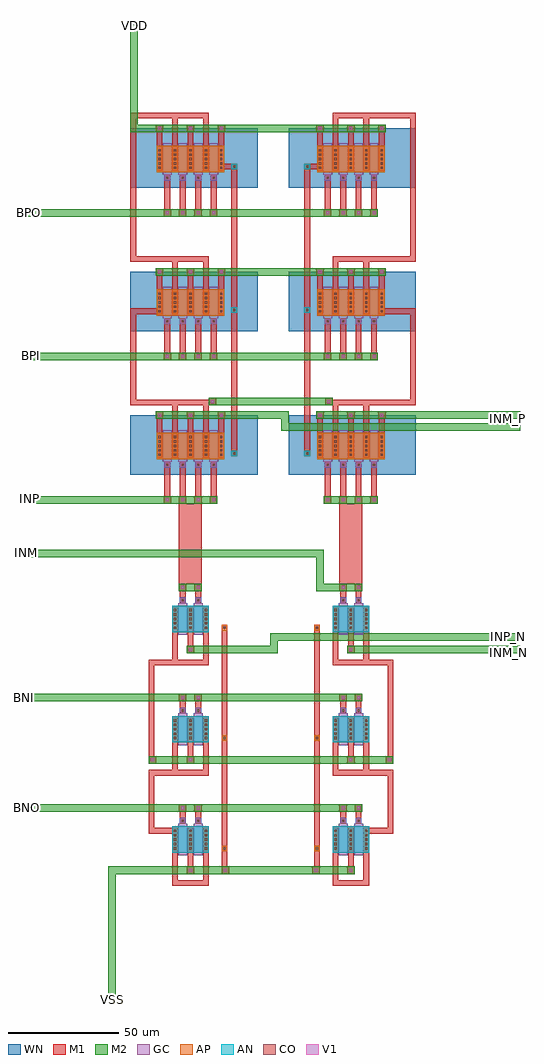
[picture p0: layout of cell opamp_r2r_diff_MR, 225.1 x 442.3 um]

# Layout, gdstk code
from math import pi, radians
import gdstk
lib = gdstk.Library(unit=1e-6, precision=1e-07)
def R(c, l, rs):  # rectangles x0, y0, x1, y1
    for r in rs: c.add(gdstk.rectangle(r[:2], r[2:], *l))
def A(c, l, x, y, w, h, nx, ny, dx, dy):  # array of equal rectangles
    R(c, l, [(x+i*dx, y+j*dy, x+i*dx+w, y+j*dy+h) for i in range(nx) for j in range(ny)])
AP = (3, 1)
AN = (3, 2)
GC = (8, 1)
CO = (11, 0)
M1 = (13, 0)
V1 = (19, 0)
M2 = (20, 0)
WN = (140, 0)

via_1 = lib.new_cell('via_1')
R(via_1, M1, [(-1.7,-1.7,1.7,1.7)])
R(via_1, V1, [(-0.7,-0.7,0.7,0.7)])
R(via_1, M2, [(-1.7,-1.7,1.7,1.7)])

fet_p = lib.new_cell('fet_p')
R(fet_p, AP, [(-15.3,-6,15.3,6)])
A(fet_p, CO, -14.5, -4.5, 1, 1, 5, 5, 7, 2)
A(fet_p, M1, -15.3, -5.3, 2.6, 10.6, 5, 1, 7, 0)
fet_p.add(gdstk.FlexPath([(3.5,-7.2),(3.5,7.2)], 4, ends="flush", simple_path=True, layer=8, datatype=1))  # GC
fet_p.add(gdstk.FlexPath([(-3.5,-7.2),(-3.5,7.2)], 4, ends="flush", simple_path=True, layer=8, datatype=1))  # GC
fet_p.add(gdstk.FlexPath([(10.5,-7.2),(10.5,7.2)], 4, ends="flush", simple_path=True, layer=8, datatype=1))  # GC
fet_p.add(gdstk.FlexPath([(-10.5,-7.2),(-10.5,7.2)], 4, ends="flush", simple_path=True, layer=8, datatype=1))  # GC

cont_n = lib.new_cell('cont_n')
R(cont_n, AN, [(-1.3,-1.3,1.3,1.3)])
R(cont_n, CO, [(-0.5,-0.5,0.5,0.5)])
R(cont_n, M1, [(-1.3,-1.3,1.3,1.3)])

cont_g = lib.new_cell('cont_g')
R(cont_g, GC, [(-1.3,-1.3,1.3,1.3)])
R(cont_g, CO, [(-0.5,-0.5,0.5,0.5)])
R(cont_g, M1, [(-1.3,-1.3,1.3,1.3)])

cont_p = lib.new_cell('cont_p')
R(cont_p, AP, [(-1.3,-1.3,1.3,1.3)])
R(cont_p, CO, [(-0.5,-0.5,0.5,0.5)])
R(cont_p, M1, [(-1.3,-1.3,1.3,1.3)])

fet_n = lib.new_cell('fet_n')
R(fet_n, AN, [(-8.3,-6,8.3,6)])
A(fet_n, CO, -7.5, -4.5, 1, 1, 3, 5, 7, 2)
A(fet_n, M1, -8.3, -5.3, 2.6, 10.6, 3, 1, 7, 0)
fet_n.add(gdstk.FlexPath([(3.5,-7.2),(3.5,7.2)], 4, ends="flush", simple_path=True, layer=8, datatype=1))  # GC
fet_n.add(gdstk.FlexPath([(-3.5,-7.2),(-3.5,7.2)], 4, ends="flush", simple_path=True, layer=8, datatype=1))  # GC

opamp_r2r_diff_mr = lib.new_cell('opamp_r2r_diff_MR')
A(opamp_r2r_diff_mr, WN, -26.7, -117, 57.7, 27, 1, 3, 0, 65)
A(opamp_r2r_diff_mr, WN, 45, -117, 57.7, 27, 1, 3, 0, 65)
opamp_r2r_diff_mr.add(gdstk.FlexPath([(64.9,45.8),(101.4,45.8),(101.4,-19.2),(64.9,-19.2)], 2.6, ends="flush", simple_path=True, layer=13, datatype=0))  # M1
opamp_r2r_diff_mr.add(gdstk.FlexPath([(53.4,21.4),(53.4,-41)], 2.6, ends="flush", simple_path=True, layer=13, datatype=0))  # M1
opamp_r2r_diff_mr.add(gdstk.FlexPath([(83.7,16.3),(83.7,3.4)], 2.6, ends="flush", simple_path=True, layer=13, datatype=0))  # M1
opamp_r2r_diff_mr.add(gdstk.FlexPath([(76.7,16.3),(76.7,3.4)], 2.6, ends="flush", simple_path=True, layer=13, datatype=0))  # M1
opamp_r2r_diff_mr.add(gdstk.FlexPath([(69.7,16.3),(69.7,3.4)], 2.6, ends="flush", simple_path=True, layer=13, datatype=0))  # M1
opamp_r2r_diff_mr.add(gdstk.FlexPath([(62.7,16.3),(62.7,3.4)], 2.6, ends="flush", simple_path=True, layer=13, datatype=0))  # M1
opamp_r2r_diff_mr.add(gdstk.FlexPath([(57.9,22.7),(52.1,22.7)], 2.6, ends="flush", simple_path=True, layer=13, datatype=0))  # M1
opamp_r2r_diff_mr.add(gdstk.FlexPath([(59.2,31.4),(59.2,38.3)], 2.6, ends="flush", simple_path=True, layer=13, datatype=0))  # M1
opamp_r2r_diff_mr.add(gdstk.FlexPath([(73.2,31.4),(73.2,38.3)], 2.6, ends="flush", simple_path=True, layer=13, datatype=0))  # M1
opamp_r2r_diff_mr.add(gdstk.FlexPath([(87.2,31.4),(87.2,38.3)], 2.6, ends="flush", simple_path=True, layer=13, datatype=0))  # M1
opamp_r2r_diff_mr.add(gdstk.FlexPath([(66.2,31.4),(66.2,45.8)], 2.6, ends="flush", simple_path=True, layer=13, datatype=0))  # M1
opamp_r2r_diff_mr.add(gdstk.FlexPath([(80.2,31.4),(80.2,45.8)], 2.6, ends="flush", simple_path=True, layer=13, datatype=0))  # M1
opamp_r2r_diff_mr.add(gdstk.FlexPath([(83.7,-48.7),(83.7,-61.6)], 2.6, ends="flush", simple_path=True, layer=13, datatype=0))  # M1
opamp_r2r_diff_mr.add(gdstk.FlexPath([(83.7,-113.7),(83.7,-126.6)], 2.6, ends="flush", simple_path=True, layer=13, datatype=0))  # M1
opamp_r2r_diff_mr.add(gdstk.FlexPath([(76.7,-48.7),(76.7,-61.6)], 2.6, ends="flush", simple_path=True, layer=13, datatype=0))  # M1
opamp_r2r_diff_mr.add(gdstk.FlexPath([(76.7,-113.7),(76.7,-126.6)], 2.6, ends="flush", simple_path=True, layer=13, datatype=0))  # M1
opamp_r2r_diff_mr.add(gdstk.FlexPath([(69.7,-48.7),(69.7,-61.6)], 2.6, ends="flush", simple_path=True, layer=13, datatype=0))  # M1
opamp_r2r_diff_mr.add(gdstk.FlexPath([(69.7,-113.7),(69.7,-126.6)], 2.6, ends="flush", simple_path=True, layer=13, datatype=0))  # M1
opamp_r2r_diff_mr.add(gdstk.FlexPath([(62.7,-48.7),(62.7,-61.6)], 2.6, ends="flush", simple_path=True, layer=13, datatype=0))  # M1
opamp_r2r_diff_mr.add(gdstk.FlexPath([(62.7,-113.7),(62.7,-126.6)], 2.6, ends="flush", simple_path=True, layer=13, datatype=0))  # M1
opamp_r2r_diff_mr.add(gdstk.FlexPath([(59.2,-33.6),(59.2,-26.7)], 2.6, ends="flush", simple_path=True, layer=13, datatype=0))  # M1
opamp_r2r_diff_mr.add(gdstk.FlexPath([(59.2,-98.6),(59.2,-91.7)], 2.6, ends="flush", simple_path=True, layer=13, datatype=0))  # M1
opamp_r2r_diff_mr.add(gdstk.FlexPath([(73.2,-33.6),(73.2,-26.7)], 2.6, ends="flush", simple_path=True, layer=13, datatype=0))  # M1
opamp_r2r_diff_mr.add(gdstk.FlexPath([(73.2,-98.6),(73.2,-91.7)], 2.6, ends="flush", simple_path=True, layer=13, datatype=0))  # M1
opamp_r2r_diff_mr.add(gdstk.FlexPath([(87.2,-33.6),(87.2,-26.7)], 2.6, ends="flush", simple_path=True, layer=13, datatype=0))  # M1
opamp_r2r_diff_mr.add(gdstk.FlexPath([(87.2,-98.6),(87.2,-91.7)], 2.6, ends="flush", simple_path=True, layer=13, datatype=0))  # M1
opamp_r2r_diff_mr.add(gdstk.FlexPath([(66.2,-33.6),(66.2,-19.2)], 2.6, ends="flush", simple_path=True, layer=13, datatype=0))  # M1
opamp_r2r_diff_mr.add(gdstk.FlexPath([(66.2,-98.6),(66.2,-84.2)], 2.6, ends="flush", simple_path=True, layer=13, datatype=0))  # M1
opamp_r2r_diff_mr.add(gdstk.FlexPath([(80.2,-33.6),(80.2,-19.2)], 2.6, ends="flush", simple_path=True, layer=13, datatype=0))  # M1
opamp_r2r_diff_mr.add(gdstk.FlexPath([(80.2,-98.6),(80.2,-84.2)], 2.6, ends="flush", simple_path=True, layer=13, datatype=0))  # M1
opamp_r2r_diff_mr.add(gdstk.FlexPath([(64.9,-84.2),(81.5,-84.2)], 2.6, ends="flush", simple_path=True, layer=13, datatype=0))  # M1
opamp_r2r_diff_mr.add(gdstk.FlexPath([(53.4,-43.6),(53.4,-106)], 2.6, ends="flush", simple_path=True, layer=13, datatype=0))  # M1
opamp_r2r_diff_mr.add(gdstk.FlexPath([(88.5,-42.9),(101.4,-42.9),(101.4,-84.2),(81.5,-84.2)], 2.6, ends="flush", simple_path=True, layer=13, datatype=0))  # M1
opamp_r2r_diff_mr.add(gdstk.FlexPath([(11,-113.7),(11,-126.6)], 2.6, ends="flush", simple_path=True, layer=13, datatype=0))  # M1
opamp_r2r_diff_mr.add(gdstk.FlexPath([(4,-48.7),(4,-61.6)], 2.6, ends="flush", simple_path=True, layer=13, datatype=0))  # M1
opamp_r2r_diff_mr.add(gdstk.FlexPath([(4,-113.7),(4,-126.6)], 2.6, ends="flush", simple_path=True, layer=13, datatype=0))  # M1
opamp_r2r_diff_mr.add(gdstk.FlexPath([(-3,-48.7),(-3,-61.6)], 2.6, ends="flush", simple_path=True, layer=13, datatype=0))  # M1
opamp_r2r_diff_mr.add(gdstk.FlexPath([(-3,-113.7),(-3,-126.6)], 2.6, ends="flush", simple_path=True, layer=13, datatype=0))  # M1
opamp_r2r_diff_mr.add(gdstk.FlexPath([(-10,-48.7),(-10,-61.6)], 2.6, ends="flush", simple_path=True, layer=13, datatype=0))  # M1
opamp_r2r_diff_mr.add(gdstk.FlexPath([(-10,-113.7),(-10,-126.6)], 2.6, ends="flush", simple_path=True, layer=13, datatype=0))  # M1
opamp_r2r_diff_mr.add(gdstk.FlexPath([(0.5,31.4),(0.5,38.3)], 2.6, ends="flush", simple_path=True, layer=13, datatype=0))  # M1
opamp_r2r_diff_mr.add(gdstk.FlexPath([(14.5,31.4),(14.5,38.3)], 2.6, ends="flush", simple_path=True, layer=13, datatype=0))  # M1
opamp_r2r_diff_mr.add(gdstk.FlexPath([(-6.5,31.4),(-6.5,45.8)], 2.6, ends="flush", simple_path=True, layer=13, datatype=0))  # M1
opamp_r2r_diff_mr.add(gdstk.FlexPath([(7.5,31.4),(7.5,45.8)], 2.6, ends="flush", simple_path=True, layer=13, datatype=0))  # M1
opamp_r2r_diff_mr.add(gdstk.FlexPath([(20.3,-43.6),(20.3,-106)], 2.6, ends="flush", simple_path=True, layer=13, datatype=0))  # M1
opamp_r2r_diff_mr.add(gdstk.FlexPath([(21.6,22.7),(15.8,22.7)], 2.6, ends="flush", simple_path=True, layer=13, datatype=0))  # M1
opamp_r2r_diff_mr.add(gdstk.FlexPath([(20.3,21.4),(20.3,-41)], 2.6, ends="flush", simple_path=True, layer=13, datatype=0))  # M1
opamp_r2r_diff_mr.add(gdstk.FlexPath([(11,16.3),(11,3.4)], 2.6, ends="flush", simple_path=True, layer=13, datatype=0))  # M1
opamp_r2r_diff_mr.add(gdstk.FlexPath([(4,16.3),(4,3.4)], 2.6, ends="flush", simple_path=True, layer=13, datatype=0))  # M1
opamp_r2r_diff_mr.add(gdstk.FlexPath([(-3,16.3),(-3,3.4)], 2.6, ends="flush", simple_path=True, layer=13, datatype=0))  # M1
opamp_r2r_diff_mr.add(gdstk.FlexPath([(-10,16.3),(-10,3.4)], 2.6, ends="flush", simple_path=True, layer=13, datatype=0))  # M1
opamp_r2r_diff_mr.add(gdstk.FlexPath([(-13.5,-33.6),(-13.5,-26.7)], 2.6, ends="flush", simple_path=True, layer=13, datatype=0))  # M1
opamp_r2r_diff_mr.add(gdstk.FlexPath([(-13.5,-98.6),(-13.5,-91.7)], 2.6, ends="flush", simple_path=True, layer=13, datatype=0))  # M1
opamp_r2r_diff_mr.add(gdstk.FlexPath([(0.5,-33.6),(0.5,-26.7)], 2.6, ends="flush", simple_path=True, layer=13, datatype=0))  # M1
opamp_r2r_diff_mr.add(gdstk.FlexPath([(0.5,-98.6),(0.5,-91.7)], 2.6, ends="flush", simple_path=True, layer=13, datatype=0))  # M1
opamp_r2r_diff_mr.add(gdstk.FlexPath([(14.5,-33.6),(14.5,-26.7)], 2.6, ends="flush", simple_path=True, layer=13, datatype=0))  # M1
opamp_r2r_diff_mr.add(gdstk.FlexPath([(14.5,-98.6),(14.5,-91.7)], 2.6, ends="flush", simple_path=True, layer=13, datatype=0))  # M1
opamp_r2r_diff_mr.add(gdstk.FlexPath([(-6.5,-33.6),(-6.5,-19.2)], 2.6, ends="flush", simple_path=True, layer=13, datatype=0))  # M1
opamp_r2r_diff_mr.add(gdstk.FlexPath([(-6.5,-98.6),(-6.5,-84.2)], 2.6, ends="flush", simple_path=True, layer=13, datatype=0))  # M1
opamp_r2r_diff_mr.add(gdstk.FlexPath([(7.5,-33.6),(7.5,-19.2)], 2.6, ends="flush", simple_path=True, layer=13, datatype=0))  # M1
opamp_r2r_diff_mr.add(gdstk.FlexPath([(7.5,-98.6),(7.5,-84.2)], 2.6, ends="flush", simple_path=True, layer=13, datatype=0))  # M1
opamp_r2r_diff_mr.add(gdstk.FlexPath([(-7.8,-84.2),(8.8,-84.2)], 2.6, ends="flush", simple_path=True, layer=13, datatype=0))  # M1
opamp_r2r_diff_mr.add(gdstk.FlexPath([(-13.5,31.4),(-13.5,38.3)], 2.6, ends="flush", simple_path=True, layer=13, datatype=0))  # M1
opamp_r2r_diff_mr.add(gdstk.FlexPath([(-14.8,-42.9),(-25.4,-42.9),(-25.4,-84.2),(-7.8,-84.2)], 2.6, ends="flush", simple_path=True, layer=13, datatype=0))  # M1
opamp_r2r_diff_mr.add(gdstk.FlexPath([(11,-48.7),(11,-61.6)], 2.6, ends="flush", simple_path=True, layer=13, datatype=0))  # M1
opamp_r2r_diff_mr.add(gdstk.FlexPath([(8.8,45.8),(-25.4,45.8),(-25.4,-19.2),(8.8,-19.2)], 2.6, ends="flush", simple_path=True, layer=13, datatype=0))  # M1
opamp_r2r_diff_mr.add(gdstk.FlexPath([(4,-169.7),(4,-172.5)], 2.6, ends="flush", simple_path=True, layer=13, datatype=0))  # M1
opamp_r2r_diff_mr.add(gdstk.FlexPath([(0.5,-194.5),(0.5,-187.6)], 2.6, ends="flush", simple_path=True, layer=13, datatype=0))  # M1
opamp_r2r_diff_mr.add(gdstk.FlexPath([(-6.5,-202),(-6.5,-187.6)], 2.6, ends="flush", simple_path=True, layer=13, datatype=0))  # M1
opamp_r2r_diff_mr.add(gdstk.FlexPath([(7.5,-202),(7.5,-187.6)], 2.6, ends="flush", simple_path=True, layer=13, datatype=0))  # M1
opamp_r2r_diff_mr.add(gdstk.FlexPath([(-3,-219.7),(-3,-222.5)], 2.6, ends="flush", simple_path=True, layer=13, datatype=0))  # M1
opamp_r2r_diff_mr.add(gdstk.FlexPath([(-3,-269.7),(-3,-272.5)], 2.6, ends="flush", simple_path=True, layer=13, datatype=0))  # M1
opamp_r2r_diff_mr.add(gdstk.FlexPath([(4,-219.7),(4,-222.5)], 2.6, ends="flush", simple_path=True, layer=13, datatype=0))  # M1
opamp_r2r_diff_mr.add(gdstk.FlexPath([(4,-269.7),(4,-272.5)], 2.6, ends="flush", simple_path=True, layer=13, datatype=0))  # M1
opamp_r2r_diff_mr.add(gdstk.FlexPath([(0.5,-244.5),(0.5,-237.6)], 2.6, ends="flush", simple_path=True, layer=13, datatype=0))  # M1
opamp_r2r_diff_mr.add(gdstk.FlexPath([(0.5,-294.5),(0.5,-287.6)], 2.6, ends="flush", simple_path=True, layer=13, datatype=0))  # M1
opamp_r2r_diff_mr.add(gdstk.FlexPath([(-6.5,-252),(-6.5,-237.6)], 2.6, ends="flush", simple_path=True, layer=13, datatype=0))  # M1
opamp_r2r_diff_mr.add(gdstk.FlexPath([(-6.5,-302),(-6.5,-287.6)], 2.6, ends="flush", simple_path=True, layer=13, datatype=0))  # M1
opamp_r2r_diff_mr.add(gdstk.FlexPath([(7.5,-252),(7.5,-237.6)], 2.6, ends="flush", simple_path=True, layer=13, datatype=0))  # M1
opamp_r2r_diff_mr.add(gdstk.FlexPath([(7.5,-302),(7.5,-287.6)], 2.6, ends="flush", simple_path=True, layer=13, datatype=0))  # M1
opamp_r2r_diff_mr.add(gdstk.FlexPath([(15.9,-187.6),(15.9,-235)], 2.6, ends="flush", simple_path=True, layer=13, datatype=0))  # M1
opamp_r2r_diff_mr.add(gdstk.FlexPath([(15.9,-237.6),(15.9,-285)], 2.6, ends="flush", simple_path=True, layer=13, datatype=0))  # M1
opamp_r2r_diff_mr.add(gdstk.FlexPath([(15.9,-287.6),(15.9,-294.5)], 2.6, ends="flush", simple_path=True, layer=13, datatype=0))  # M1
opamp_r2r_diff_mr.add(gdstk.FlexPath([(8.8,-202),(-17.1,-202),(-17.1,-244.5)], 2.6, ends="flush", simple_path=True, layer=13, datatype=0))  # M1
opamp_r2r_diff_mr.add(gdstk.FlexPath([(8.8,-252),(-17.1,-252),(-17.1,-278.3),(-7.8,-278.3)], 2.6, ends="flush", simple_path=True, layer=13, datatype=0))  # M1
opamp_r2r_diff_mr.add(gdstk.FlexPath([(-7.8,-302),(8.8,-302)], 2.6, ends="flush", simple_path=True, layer=13, datatype=0))  # M1
opamp_r2r_diff_mr.add(gdstk.FlexPath([(0.5,-130),(0.5,-166.3)], 10.4, ends="flush", simple_path=True, layer=13, datatype=0))  # M1
opamp_r2r_diff_mr.add(gdstk.FlexPath([(-3,-169.7),(-3,-172.5)], 2.6, ends="flush", simple_path=True, layer=13, datatype=0))  # M1
opamp_r2r_diff_mr.add(gdstk.FlexPath([(76.7,-269.7),(76.7,-272.5)], 2.6, ends="flush", simple_path=True, layer=13, datatype=0))  # M1
opamp_r2r_diff_mr.add(gdstk.FlexPath([(73.2,-244.5),(73.2,-237.6)], 2.6, ends="flush", simple_path=True, layer=13, datatype=0))  # M1
opamp_r2r_diff_mr.add(gdstk.FlexPath([(73.2,-294.5),(73.2,-287.6)], 2.6, ends="flush", simple_path=True, layer=13, datatype=0))  # M1
opamp_r2r_diff_mr.add(gdstk.FlexPath([(66.2,-252),(66.2,-237.6)], 2.6, ends="flush", simple_path=True, layer=13, datatype=0))  # M1
opamp_r2r_diff_mr.add(gdstk.FlexPath([(66.2,-302),(66.2,-287.6)], 2.6, ends="flush", simple_path=True, layer=13, datatype=0))  # M1
opamp_r2r_diff_mr.add(gdstk.FlexPath([(80.2,-252),(80.2,-237.6)], 2.6, ends="flush", simple_path=True, layer=13, datatype=0))  # M1
opamp_r2r_diff_mr.add(gdstk.FlexPath([(80.2,-302),(80.2,-287.6)], 2.6, ends="flush", simple_path=True, layer=13, datatype=0))  # M1
opamp_r2r_diff_mr.add(gdstk.FlexPath([(69.7,-169.7),(69.7,-172.5)], 2.6, ends="flush", simple_path=True, layer=13, datatype=0))  # M1
opamp_r2r_diff_mr.add(gdstk.FlexPath([(76.7,-169.7),(76.7,-172.5)], 2.6, ends="flush", simple_path=True, layer=13, datatype=0))  # M1
opamp_r2r_diff_mr.add(gdstk.FlexPath([(73.2,-194.5),(73.2,-187.6)], 2.6, ends="flush", simple_path=True, layer=13, datatype=0))  # M1
opamp_r2r_diff_mr.add(gdstk.FlexPath([(57.8,-187.6),(57.8,-235)], 2.6, ends="flush", simple_path=True, layer=13, datatype=0))  # M1
opamp_r2r_diff_mr.add(gdstk.FlexPath([(57.8,-237.6),(57.8,-285)], 2.6, ends="flush", simple_path=True, layer=13, datatype=0))  # M1
opamp_r2r_diff_mr.add(gdstk.FlexPath([(57.8,-287.6),(57.8,-294.5)], 2.6, ends="flush", simple_path=True, layer=13, datatype=0))  # M1
opamp_r2r_diff_mr.add(gdstk.FlexPath([(66.2,-202),(66.2,-187.6)], 2.6, ends="flush", simple_path=True, layer=13, datatype=0))  # M1
opamp_r2r_diff_mr.add(gdstk.FlexPath([(80.2,-202),(80.2,-187.6)], 2.6, ends="flush", simple_path=True, layer=13, datatype=0))  # M1
opamp_r2r_diff_mr.add(gdstk.FlexPath([(69.7,-219.7),(69.7,-222.5)], 2.6, ends="flush", simple_path=True, layer=13, datatype=0))  # M1
opamp_r2r_diff_mr.add(gdstk.FlexPath([(64.9,-202),(91.1,-202),(91.1,-244.5)], 2.6, ends="flush", simple_path=True, layer=13, datatype=0))  # M1
opamp_r2r_diff_mr.add(gdstk.FlexPath([(64.9,-252),(91.1,-252),(91.1,-278.3),(81.5,-278.3)], 2.6, ends="flush", simple_path=True, layer=13, datatype=0))  # M1
opamp_r2r_diff_mr.add(gdstk.FlexPath([(64.9,-302),(81.5,-302)], 2.6, ends="flush", simple_path=True, layer=13, datatype=0))  # M1
opamp_r2r_diff_mr.add(gdstk.FlexPath([(69.7,-269.7),(69.7,-272.5)], 2.6, ends="flush", simple_path=True, layer=13, datatype=0))  # M1
opamp_r2r_diff_mr.add(gdstk.FlexPath([(73.2,-130),(73.2,-166.3)], 10.4, ends="flush", simple_path=True, layer=13, datatype=0))  # M1
opamp_r2r_diff_mr.add(gdstk.FlexPath([(76.7,-219.7),(76.7,-222.5)], 2.6, ends="flush", simple_path=True, layer=13, datatype=0))  # M1
opamp_r2r_diff_mr.add(gdstk.FlexPath([(-15.2,40),(-25,40),(-25,87.3)], 3.4, ends="flush", simple_path=True, layer=20, datatype=0))  # M2
opamp_r2r_diff_mr.add(gdstk.FlexPath([(16.2,-90),(43.4,-90),(43.4,-95.4),(150,-95.4)], 3.4, ends="flush", simple_path=True, layer=20, datatype=0))  # M2
opamp_r2r_diff_mr.add(gdstk.FlexPath([(88.9,-90),(150,-90)], 3.4, ends="flush", simple_path=True, layer=20, datatype=0))  # M2
opamp_r2r_diff_mr.add(gdstk.FlexPath([(-4.7,-168),(5.7,-168)], 3.4, ends="flush", simple_path=True, layer=20, datatype=0))  # M2
opamp_r2r_diff_mr.add(gdstk.FlexPath([(68,-168),(78.4,-168)], 3.4, ends="flush", simple_path=True, layer=20, datatype=0))  # M2
opamp_r2r_diff_mr.add(gdstk.FlexPath([(-4.7,-218),(5.7,-218)], 3.4, ends="flush", simple_path=True, layer=20, datatype=0))  # M2
opamp_r2r_diff_mr.add(gdstk.FlexPath([(-4.7,-268),(5.7,-268)], 3.4, ends="flush", simple_path=True, layer=20, datatype=0))  # M2
opamp_r2r_diff_mr.add(gdstk.FlexPath([(68,-218),(78.4,-218)], 3.4, ends="flush", simple_path=True, layer=20, datatype=0))  # M2
opamp_r2r_diff_mr.add(gdstk.FlexPath([(68,-268),(78.4,-268)], 3.4, ends="flush", simple_path=True, layer=20, datatype=0))  # M2
opamp_r2r_diff_mr.add(gdstk.FlexPath([(68,-168),(59.2,-168),(59.2,-152.7),(-74.8,-152.7)], 3.4, ends="flush", simple_path=True, layer=20, datatype=0))  # M2
opamp_r2r_diff_mr.add(gdstk.FlexPath([(2.2,-196.2),(38.3,-196.2),(38.3,-190.6),(150,-190.6)], 3.4, ends="flush", simple_path=True, layer=20, datatype=0))  # M2
opamp_r2r_diff_mr.add(gdstk.FlexPath([(74.9,-196.2),(150,-196.2)], 3.4, ends="flush", simple_path=True, layer=20, datatype=0))  # M2
opamp_r2r_diff_mr.add(gdstk.FlexPath([(68,-218),(-75.1,-218)], 3.4, ends="flush", simple_path=True, layer=20, datatype=0))  # M2
opamp_r2r_diff_mr.add(gdstk.FlexPath([(92.4,-246.2),(-18.4,-246.2)], 3.4, ends="flush", simple_path=True, layer=20, datatype=0))  # M2
opamp_r2r_diff_mr.add(gdstk.FlexPath([(68,-268),(-75.1,-268)], 3.4, ends="flush", simple_path=True, layer=20, datatype=0))  # M2
opamp_r2r_diff_mr.add(gdstk.FlexPath([(71.5,-296.2),(2.2,-296.2),(2.2,-296.2)], 3.4, ends="flush", simple_path=True, layer=20, datatype=0))  # M2
opamp_r2r_diff_mr.add(gdstk.FlexPath([(-1.2,-296.2),(-35,-296.2),(-35,-355)], 3.4, ends="flush", simple_path=True, layer=20, datatype=0))  # M2
opamp_r2r_diff_mr.add(gdstk.FlexPath([(12.7,-128.3),(-75.1,-128.3)], 3.4, ends="flush", simple_path=True, layer=20, datatype=0))  # M2
opamp_r2r_diff_mr.add(gdstk.FlexPath([(16.2,40),(57.5,40)], 3.4, ends="flush", simple_path=True, layer=20, datatype=0))  # M2
opamp_r2r_diff_mr.add(gdstk.FlexPath([(57.5,40),(88.9,40)], 3.4, ends="flush", simple_path=True, layer=20, datatype=0))  # M2
opamp_r2r_diff_mr.add(gdstk.FlexPath([(-15.2,40),(16.2,40)], 3.4, ends="flush", simple_path=True, layer=20, datatype=0))  # M2
opamp_r2r_diff_mr.add(gdstk.FlexPath([(16.2,-25),(57.5,-25)], 3.4, ends="flush", simple_path=True, layer=20, datatype=0))  # M2
opamp_r2r_diff_mr.add(gdstk.FlexPath([(57.5,-25),(88.9,-25)], 3.4, ends="flush", simple_path=True, layer=20, datatype=0))  # M2
opamp_r2r_diff_mr.add(gdstk.FlexPath([(57.5,-90),(88.9,-90)], 3.4, ends="flush", simple_path=True, layer=20, datatype=0))  # M2
opamp_r2r_diff_mr.add(gdstk.FlexPath([(-15.2,-25),(16.2,-25)], 3.4, ends="flush", simple_path=True, layer=20, datatype=0))  # M2
opamp_r2r_diff_mr.add(gdstk.FlexPath([(-15.2,-90),(16.2,-90)], 3.4, ends="flush", simple_path=True, layer=20, datatype=0))  # M2
opamp_r2r_diff_mr.add(gdstk.FlexPath([(85.4,1.7),(-75.1,1.7)], 3.4, ends="flush", simple_path=True, layer=20, datatype=0))  # M2
opamp_r2r_diff_mr.add(gdstk.FlexPath([(85.4,-63.3),(-75.1,-63.3)], 3.4, ends="flush", simple_path=True, layer=20, datatype=0))  # M2
opamp_r2r_diff_mr.add(gdstk.FlexPath([(85.4,-128.3),(61,-128.3)], 3.4, ends="flush", simple_path=True, layer=20, datatype=0))  # M2
opamp_r2r_diff_mr.add(gdstk.FlexPath([(12.2,-83.8),(61.5,-83.8)], 3.4, ends="flush", simple_path=True, layer=20, datatype=0))  # M2
opamp_r2r_diff_mr.add(gdstk.Reference(via_1, (83.7,-128.3), rotation=pi))
opamp_r2r_diff_mr.add(gdstk.Reference(via_1, (76.7,-128.3), rotation=pi))
opamp_r2r_diff_mr.add(gdstk.Reference(via_1, (69.7,-128.3), rotation=pi))
opamp_r2r_diff_mr.add(gdstk.Reference(via_1, (62.7,-128.3), rotation=pi))
opamp_r2r_diff_mr.add(gdstk.Reference(via_1, (11,-128.3), rotation=pi))
opamp_r2r_diff_mr.add(gdstk.Reference(via_1, (4,-128.3), rotation=pi))
opamp_r2r_diff_mr.add(gdstk.Reference(via_1, (-3,-128.3), rotation=pi))
opamp_r2r_diff_mr.add(gdstk.Reference(via_1, (-10,-128.3), rotation=pi))
opamp_r2r_diff_mr.add(gdstk.Reference(fet_p, (73.2,26.1), rotation=pi))
opamp_r2r_diff_mr.add(gdstk.Reference(cont_n, (53.4,-42.3), rotation=pi))
opamp_r2r_diff_mr.add(gdstk.Reference(cont_n, (53.4,-107.3), rotation=pi))
opamp_r2r_diff_mr.add(gdstk.Reference(via_1, (87.2,-25), rotation=pi))
opamp_r2r_diff_mr.add(gdstk.Reference(via_1, (87.2,-90), rotation=pi))
opamp_r2r_diff_mr.add(gdstk.Reference(via_1, (73.2,-25), rotation=pi))
opamp_r2r_diff_mr.add(gdstk.Reference(via_1, (73.2,-90), rotation=pi))
opamp_r2r_diff_mr.add(gdstk.Reference(via_1, (59.2,-25), rotation=pi))
opamp_r2r_diff_mr.add(gdstk.Reference(via_1, (59.2,-90), rotation=pi))
opamp_r2r_diff_mr.add(gdstk.Reference(cont_g, (83.7,-47.4), rotation=pi))
opamp_r2r_diff_mr.add(gdstk.Reference(cont_g, (83.7,-112.4), rotation=pi))
opamp_r2r_diff_mr.add(gdstk.Reference(cont_g, (76.7,-47.4), rotation=pi))
opamp_r2r_diff_mr.add(gdstk.Reference(cont_g, (76.7,-112.4), rotation=pi))
opamp_r2r_diff_mr.add(gdstk.Reference(cont_g, (69.7,-47.4), rotation=pi))
opamp_r2r_diff_mr.add(gdstk.Reference(cont_g, (69.7,-112.4), rotation=pi))
opamp_r2r_diff_mr.add(gdstk.Reference(cont_g, (62.7,-47.4), rotation=pi))
opamp_r2r_diff_mr.add(gdstk.Reference(cont_g, (62.7,-112.4), rotation=pi))
opamp_r2r_diff_mr.add(gdstk.Reference(fet_p, (73.2,-38.9), rotation=pi))
opamp_r2r_diff_mr.add(gdstk.Reference(fet_p, (73.2,-103.9), rotation=pi))
opamp_r2r_diff_mr.add(gdstk.Reference(via_1, (83.7,1.7), rotation=pi))
opamp_r2r_diff_mr.add(gdstk.Reference(via_1, (76.7,1.7), rotation=pi))
opamp_r2r_diff_mr.add(gdstk.Reference(via_1, (69.7,1.7), rotation=pi))
opamp_r2r_diff_mr.add(gdstk.Reference(via_1, (62.7,1.7), rotation=pi))
opamp_r2r_diff_mr.add(gdstk.Reference(via_1, (83.7,-63.3), rotation=pi))
opamp_r2r_diff_mr.add(gdstk.Reference(cont_n, (53.4,22.7), rotation=pi))
opamp_r2r_diff_mr.add(gdstk.Reference(via_1, (76.7,-63.3), rotation=pi))
opamp_r2r_diff_mr.add(gdstk.Reference(via_1, (87.2,40), rotation=pi))
opamp_r2r_diff_mr.add(gdstk.Reference(via_1, (69.7,-63.3), rotation=pi))
opamp_r2r_diff_mr.add(gdstk.Reference(via_1, (73.2,40), rotation=pi))
opamp_r2r_diff_mr.add(gdstk.Reference(via_1, (62.7,-63.3), rotation=pi))
opamp_r2r_diff_mr.add(gdstk.Reference(via_1, (59.2,40), rotation=pi))
opamp_r2r_diff_mr.add(gdstk.Reference(cont_g, (83.7,17.6), rotation=pi))
opamp_r2r_diff_mr.add(gdstk.Reference(cont_g, (76.7,17.6), rotation=pi))
opamp_r2r_diff_mr.add(gdstk.Reference(cont_g, (69.7,17.6), rotation=pi))
opamp_r2r_diff_mr.add(gdstk.Reference(cont_g, (62.7,17.6), rotation=pi))
opamp_r2r_diff_mr.add(gdstk.Reference(via_1, (63.2,-83.8), rotation=pi))
opamp_r2r_diff_mr.add(gdstk.Reference(cont_g, (-10,17.6), rotation=pi))
opamp_r2r_diff_mr.add(gdstk.Reference(fet_p, (0.5,26.1), rotation=pi))
opamp_r2r_diff_mr.add(gdstk.Reference(cont_n, (20.3,22.7), rotation=pi))
opamp_r2r_diff_mr.add(gdstk.Reference(cont_n, (20.3,-42.3), rotation=pi))
opamp_r2r_diff_mr.add(gdstk.Reference(cont_n, (20.3,-107.3), rotation=pi))
opamp_r2r_diff_mr.add(gdstk.Reference(via_1, (14.5,-25), rotation=pi))
opamp_r2r_diff_mr.add(gdstk.Reference(via_1, (14.5,-90), rotation=pi))
opamp_r2r_diff_mr.add(gdstk.Reference(via_1, (0.5,-25), rotation=pi))
opamp_r2r_diff_mr.add(gdstk.Reference(via_1, (0.5,-90), rotation=pi))
opamp_r2r_diff_mr.add(gdstk.Reference(via_1, (-13.5,-25), rotation=pi))
opamp_r2r_diff_mr.add(gdstk.Reference(via_1, (-13.5,-90), rotation=pi))
opamp_r2r_diff_mr.add(gdstk.Reference(cont_g, (11,-47.4), rotation=pi))
opamp_r2r_diff_mr.add(gdstk.Reference(cont_g, (11,-112.4), rotation=pi))
opamp_r2r_diff_mr.add(gdstk.Reference(cont_g, (4,-47.4), rotation=pi))
opamp_r2r_diff_mr.add(gdstk.Reference(via_1, (11,1.7), rotation=pi))
opamp_r2r_diff_mr.add(gdstk.Reference(via_1, (4,1.7), rotation=pi))
opamp_r2r_diff_mr.add(gdstk.Reference(via_1, (-3,1.7), rotation=pi))
opamp_r2r_diff_mr.add(gdstk.Reference(via_1, (-10,1.7), rotation=pi))
opamp_r2r_diff_mr.add(gdstk.Reference(cont_g, (4,-112.4), rotation=pi))
opamp_r2r_diff_mr.add(gdstk.Reference(cont_g, (-3,-47.4), rotation=pi))
opamp_r2r_diff_mr.add(gdstk.Reference(cont_g, (-3,-112.4), rotation=pi))
opamp_r2r_diff_mr.add(gdstk.Reference(cont_g, (-10,-47.4), rotation=pi))
opamp_r2r_diff_mr.add(gdstk.Reference(cont_g, (-10,-112.4), rotation=pi))
opamp_r2r_diff_mr.add(gdstk.Reference(fet_p, (0.5,-38.9), rotation=pi))
opamp_r2r_diff_mr.add(gdstk.Reference(fet_p, (0.5,-103.9), rotation=pi))
opamp_r2r_diff_mr.add(gdstk.Reference(via_1, (14.5,40), rotation=pi))
opamp_r2r_diff_mr.add(gdstk.Reference(via_1, (11,-63.3), rotation=pi))
opamp_r2r_diff_mr.add(gdstk.Reference(via_1, (0.5,40), rotation=pi))
opamp_r2r_diff_mr.add(gdstk.Reference(via_1, (4,-63.3), rotation=pi))
opamp_r2r_diff_mr.add(gdstk.Reference(via_1, (-13.5,40), rotation=pi))
opamp_r2r_diff_mr.add(gdstk.Reference(via_1, (-3,-63.3), rotation=pi))
opamp_r2r_diff_mr.add(gdstk.Reference(cont_g, (11,17.6), rotation=pi))
opamp_r2r_diff_mr.add(gdstk.Reference(via_1, (-10,-63.3), rotation=pi))
opamp_r2r_diff_mr.add(gdstk.Reference(cont_g, (4,17.6), rotation=pi))
opamp_r2r_diff_mr.add(gdstk.Reference(via_1, (10.5,-83.8), rotation=pi))
opamp_r2r_diff_mr.add(gdstk.Reference(cont_g, (-3,17.6), rotation=pi))
opamp_r2r_diff_mr.add(gdstk.Reference(via_1, (-3,-268), rotation=pi))
opamp_r2r_diff_mr.add(gdstk.Reference(cont_g, (-3,-223.8), rotation=pi))
opamp_r2r_diff_mr.add(gdstk.Reference(cont_g, (-3,-273.8), rotation=pi))
opamp_r2r_diff_mr.add(gdstk.Reference(cont_g, (4,-223.8), rotation=pi))
opamp_r2r_diff_mr.add(gdstk.Reference(cont_g, (4,-273.8), rotation=pi))
opamp_r2r_diff_mr.add(gdstk.Reference(via_1, (4,-218), rotation=pi))
opamp_r2r_diff_mr.add(gdstk.Reference(via_1, (4,-268), rotation=pi))
opamp_r2r_diff_mr.add(gdstk.Reference(via_1, (0.5,-246.2), rotation=pi))
opamp_r2r_diff_mr.add(gdstk.Reference(via_1, (0.5,-296.2), rotation=pi))
opamp_r2r_diff_mr.add(gdstk.Reference(cont_p, (15.9,-236.3), rotation=pi))
opamp_r2r_diff_mr.add(gdstk.Reference(cont_p, (15.9,-286.3), rotation=pi))
opamp_r2r_diff_mr.add(gdstk.Reference(via_1, (16.3,-296.2), rotation=pi))
opamp_r2r_diff_mr.add(gdstk.Reference(via_1, (-16.7,-246.2), rotation=pi))
opamp_r2r_diff_mr.add(gdstk.Reference(via_1, (-3,-168), rotation=pi))
opamp_r2r_diff_mr.add(gdstk.Reference(cont_g, (-3,-173.8), rotation=pi))
opamp_r2r_diff_mr.add(gdstk.Reference(fet_n, (0.5,-182.3), rotation=pi))
opamp_r2r_diff_mr.add(gdstk.Reference(cont_g, (4,-173.8), rotation=pi))
opamp_r2r_diff_mr.add(gdstk.Reference(via_1, (4,-168), rotation=pi))
opamp_r2r_diff_mr.add(gdstk.Reference(via_1, (0.5,-196.2), rotation=pi))
opamp_r2r_diff_mr.add(gdstk.Reference(cont_p, (15.9,-186.3), rotation=pi))
opamp_r2r_diff_mr.add(gdstk.Reference(fet_n, (0.5,-232.3), rotation=pi))
opamp_r2r_diff_mr.add(gdstk.Reference(fet_n, (0.5,-282.3), rotation=pi))
opamp_r2r_diff_mr.add(gdstk.Reference(via_1, (-3,-218), rotation=pi))
opamp_r2r_diff_mr.add(gdstk.Reference(cont_g, (76.7,-273.8), rotation=pi))
opamp_r2r_diff_mr.add(gdstk.Reference(via_1, (76.7,-218), rotation=pi))
opamp_r2r_diff_mr.add(gdstk.Reference(via_1, (76.7,-268), rotation=pi))
opamp_r2r_diff_mr.add(gdstk.Reference(via_1, (73.2,-246.2), rotation=pi))
opamp_r2r_diff_mr.add(gdstk.Reference(via_1, (73.2,-296.2), rotation=pi))
opamp_r2r_diff_mr.add(gdstk.Reference(fet_n, (73.2,-182.3), rotation=pi))
opamp_r2r_diff_mr.add(gdstk.Reference(cont_p, (57.8,-186.3), rotation=pi))
opamp_r2r_diff_mr.add(gdstk.Reference(cont_p, (57.8,-236.3), rotation=pi))
opamp_r2r_diff_mr.add(gdstk.Reference(cont_p, (57.8,-286.3), rotation=pi))
opamp_r2r_diff_mr.add(gdstk.Reference(via_1, (57.4,-296.2), rotation=pi))
opamp_r2r_diff_mr.add(gdstk.Reference(via_1, (69.7,-168), rotation=pi))
opamp_r2r_diff_mr.add(gdstk.Reference(cont_g, (69.7,-173.8), rotation=pi))
opamp_r2r_diff_mr.add(gdstk.Reference(via_1, (90.7,-246.2), rotation=pi))
opamp_r2r_diff_mr.add(gdstk.Reference(cont_g, (76.7,-173.8), rotation=pi))
opamp_r2r_diff_mr.add(gdstk.Reference(via_1, (76.7,-168), rotation=pi))
opamp_r2r_diff_mr.add(gdstk.Reference(via_1, (73.2,-196.2), rotation=pi))
opamp_r2r_diff_mr.add(gdstk.Reference(fet_n, (73.2,-232.3), rotation=pi))
opamp_r2r_diff_mr.add(gdstk.Reference(fet_n, (73.2,-282.3), rotation=pi))
opamp_r2r_diff_mr.add(gdstk.Reference(via_1, (69.7,-218), rotation=pi))
opamp_r2r_diff_mr.add(gdstk.Reference(via_1, (69.7,-268), rotation=pi))
opamp_r2r_diff_mr.add(gdstk.Reference(cont_g, (69.7,-223.8), rotation=pi))
opamp_r2r_diff_mr.add(gdstk.Reference(cont_g, (69.7,-273.8), rotation=pi))
opamp_r2r_diff_mr.add(gdstk.Reference(cont_g, (76.7,-223.8), rotation=pi))
opamp_r2r_diff_mr.add(gdstk.Label('VDD', (-24.9,86.5), layer=49, texttype=0))
opamp_r2r_diff_mr.add(gdstk.Label('BNI', (-74.5,-217.8), layer=49, texttype=0))
opamp_r2r_diff_mr.add(gdstk.Label('BPO', (-72.8,1.8), layer=49, texttype=0))
opamp_r2r_diff_mr.add(gdstk.Label('VSS', (-34.9,-354.6), layer=49, texttype=0))
opamp_r2r_diff_mr.add(gdstk.Label('BNO', (-73.8,-267.7), layer=49, texttype=0))
opamp_r2r_diff_mr.add(gdstk.Label('INP_N', (144.8,-190.4), layer=49, texttype=0))
opamp_r2r_diff_mr.add(gdstk.Label('INM_N', (144.6,-197.7), layer=49, texttype=0))
opamp_r2r_diff_mr.add(gdstk.Label('INM_P', (144.1,-91.5), layer=49, texttype=0))
opamp_r2r_diff_mr.add(gdstk.Label('INP_P', (143.7,-95), layer=49, texttype=0))
opamp_r2r_diff_mr.add(gdstk.Label('BPI', (-71.7,-63.1), layer=49, texttype=0))
opamp_r2r_diff_mr.add(gdstk.Label('INP', (-72.6,-127.9), layer=49, texttype=0))
opamp_r2r_diff_mr.add(gdstk.Label('INM', (-73.8,-152.4), layer=49, texttype=0))

lib.write_gds('opamp_r2r_diff_MR.gds')
